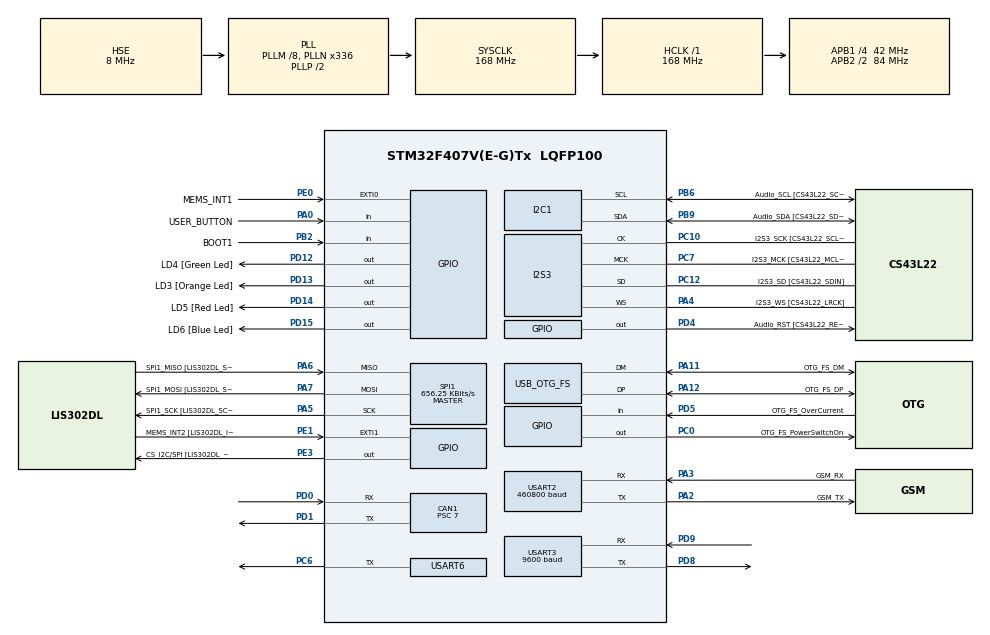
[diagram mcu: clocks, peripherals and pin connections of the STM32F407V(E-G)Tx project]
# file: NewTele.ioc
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CAN1.BS1=CAN_BS1_6TQ
CAN1.BS2=CAN_BS2_5TQ
CAN1.CalculateBaudRate=500000
CAN1.CalculateTimeBit=1999.99
CAN1.CalculateTimeQuantum=166.66666666666669
CAN1.Prescaler=7
Dma.Request0=USART2_RX
Dma.Request1=USART3_RX
Dma.Request2=USART2_TX
Dma.Request3=USART3_TX
Dma.Request4=USART6_TX
Dma.USART2_RX.0.Direction=DMA_PERIPH_TO_MEMORY
Dma.USART2_RX.0.FIFOMode=DMA_FIFOMODE_DISABLE
Dma.USART2_RX.0.Instance=DMA1_Stream5
Dma.USART2_RX.0.MemDataAlignment=DMA_MDATAALIGN_BYTE
Dma.USART2_RX.0.MemInc=DMA_MINC_ENABLE
Dma.USART2_RX.0.Mode=DMA_CIRCULAR
Dma.USART2_RX.0.PeriphDataAlignment=DMA_PDATAALIGN_BYTE
Dma.USART2_RX.0.PeriphInc=DMA_PINC_DISABLE
Dma.USART2_RX.0.Priority=DMA_PRIORITY_LOW
Dma.USART2_TX.2.Direction=DMA_MEMORY_TO_PERIPH
Dma.USART2_TX.2.FIFOMode=DMA_FIFOMODE_DISABLE
Dma.USART2_TX.2.Instance=DMA1_Stream6
Dma.USART2_TX.2.MemDataAlignment=DMA_MDATAALIGN_BYTE
Dma.USART2_TX.2.MemInc=DMA_MINC_ENABLE
Dma.USART2_TX.2.Mode=DMA_NORMAL
Dma.USART2_TX.2.PeriphDataAlignment=DMA_PDATAALIGN_BYTE
Dma.USART2_TX.2.PeriphInc=DMA_PINC_DISABLE
Dma.USART2_TX.2.Priority=DMA_PRIORITY_LOW
Dma.USART3_RX.1.Direction=DMA_PERIPH_TO_MEMORY
Dma.USART3_RX.1.FIFOMode=DMA_FIFOMODE_DISABLE
Dma.USART3_RX.1.Instance=DMA1_Stream1
Dma.USART3_RX.1.MemDataAlignment=DMA_MDATAALIGN_BYTE
Dma.USART3_RX.1.MemInc=DMA_MINC_ENABLE
Dma.USART3_RX.1.Mode=DMA_CIRCULAR
Dma.USART3_RX.1.PeriphDataAlignment=DMA_PDATAALIGN_BYTE
Dma.USART3_RX.1.PeriphInc=DMA_PINC_DISABLE
Dma.USART3_RX.1.Priority=DMA_PRIORITY_LOW
Dma.USART3_TX.3.Direction=DMA_MEMORY_TO_PERIPH
Dma.USART3_TX.3.FIFOMode=DMA_FIFOMODE_DISABLE
Dma.USART3_TX.3.Instance=DMA1_Stream3
Dma.USART3_TX.3.MemDataAlignment=DMA_MDATAALIGN_BYTE
Dma.USART3_TX.3.MemInc=DMA_MINC_ENABLE
Dma.USART3_TX.3.Mode=DMA_NORMAL
Dma.USART3_TX.3.PeriphDataAlignment=DMA_PDATAALIGN_BYTE
Dma.USART3_TX.3.PeriphInc=DMA_PINC_DISABLE
Dma.USART3_TX.3.Priority=DMA_PRIORITY_LOW
Dma.USART6_TX.4.Direction=DMA_MEMORY_TO_PERIPH
Dma.USART6_TX.4.FIFOMode=DMA_FIFOMODE_DISABLE
Dma.USART6_TX.4.Instance=DMA2_Stream6
Dma.USART6_TX.4.MemDataAlignment=DMA_MDATAALIGN_BYTE
Dma.USART6_TX.4.MemInc=DMA_MINC_ENABLE
Dma.USART6_TX.4.Mode=DMA_NORMAL
Dma.USART6_TX.4.PeriphDataAlignment=DMA_PDATAALIGN_BYTE
Dma.USART6_TX.4.PeriphInc=DMA_PINC_DISABLE
Dma.USART6_TX.4.Priority=DMA_PRIORITY_LOW
FREERTOS.Tasks01=defaultTask,24,128,StartDefaultTask,Default,NULL,Dynamic,NULL,NULL
FREERTOS.configUSE_NEWLIB_REENTRANT=1
I2S3.AudioFreq=I2S_AUDIOFREQ_96K
I2S3.AudioFreq-Half_Duplex_Master=I2S_AUDIOFREQ_96K
I2S3.ErrorAudioFreq=-2.34 %
I2S3.ErrorAudioFreq-Half_Duplex_Master=0.8 %
I2S3.FullDuplexMode=I2S_FULLDUPLEXMODE_DISABLE
I2S3.Instance=SPI$Index
I2S3.RealAudioFreq=93.75 KHz
I2S3.RealAudioFreq-Half_Duplex_Master=96.774 KHz
I2S3.VirtualMode=I2S_MODE_MASTER
Mcu.Family=STM32F4
Mcu.Name=STM32F407V(E-G)Tx
Mcu.Package=LQFP100
NVIC.DMA1_Stream1_IRQn=true\:5\:0\:false\:false\:true\:true\:false\:true
NVIC.DMA1_Stream3_IRQn=true\:5\:0\:false\:false\:true\:true\:false\:true
NVIC.DMA1_Stream5_IRQn=true\:5\:0\:false\:false\:true\:true\:false\:true
NVIC.DMA1_Stream6_IRQn=true\:5\:0\:false\:false\:true\:true\:false\:true
NVIC.DMA2_Stream6_IRQn=true\:5\:0\:false\:false\:true\:true\:false\:true
NVIC.EXTI0_IRQn=true\:5\:0\:false\:false\:true\:true\:true\:true
NVIC.EXTI1_IRQn=true\:5\:0\:false\:false\:true\:true\:true\:true
NVIC.OTG_FS_IRQn=true\:5\:0\:false\:false\:true\:true\:true\:true
NVIC.PriorityGroup=NVIC_PRIORITYGROUP_4
NVIC.TIM1_UP_TIM10_IRQn=true\:15\:0\:false\:false\:true\:false\:false\:true
NVIC.TIM2_IRQn=true\:5\:0\:false\:false\:true\:true\:true\:true
NVIC.TimeBase=TIM1_UP_TIM10_IRQn
NVIC.TimeBaseIP=TIM1
NVIC.USART2_IRQn=true\:5\:0\:false\:false\:true\:true\:true\:true
NVIC.USART3_IRQn=true\:5\:0\:false\:false\:true\:true\:true\:true
NVIC.USART6_IRQn=true\:5\:0\:false\:false\:true\:true\:true\:true
PA0-WKUP.GPIO_Label=USER_BUTTON
PA0-WKUP.Signal=GPIO_Input
PA10.GPIO_Label=OTG_FS_ID
PA10.GPIO_Mode=GPIO_MODE_AF_PP
PA10.GPIO_PuPd=GPIO_NOPULL
PA10.GPIO_Speed=GPIO_SPEED_FREQ_LOW
PA10.Signal=USB_OTG_FS_ID
PA11.GPIO_Label=OTG_FS_DM
PA11.GPIO_Mode=GPIO_MODE_AF_PP
PA11.GPIO_PuPd=GPIO_NOPULL
PA11.GPIO_Speed=GPIO_SPEED_FREQ_LOW
PA11.Mode=Device_Only
PA11.Signal=USB_OTG_FS_DM
PA12.GPIO_Label=OTG_FS_DP
PA12.GPIO_Mode=GPIO_MODE_AF_PP
PA12.GPIO_PuPd=GPIO_NOPULL
PA12.GPIO_Speed=GPIO_SPEED_FREQ_LOW
PA12.Mode=Device_Only
PA12.Signal=USB_OTG_FS_DP
PA13.GPIO_Label=SWDIO
PA13.Mode=Serial_Wire
PA13.Signal=SYS_JTMS-SWDIO
PA14.GPIO_Label=SWCLK
PA14.Mode=Serial_Wire
PA14.Signal=SYS_JTCK-SWCLK
PA2.GPIO_Label=GSM_TX
PA2.Mode=Asynchronous
PA2.Signal=USART2_TX
PA3.GPIO_Label=GSM_RX
PA3.Mode=Asynchronous
PA3.Signal=USART2_RX
PA4.GPIO_Label=I2S3_WS [CS43L22_LRCK]
PA4.GPIO_Mode=GPIO_MODE_AF_PP
PA4.GPIO_PuPd=GPIO_NOPULL
PA4.GPIO_Speed=GPIO_SPEED_FREQ_LOW
PA4.Mode=Half_Duplex_Master
PA4.Signal=I2S3_WS
PA5.GPIO_Label=SPI1_SCK [LIS302DL_SCL/SPC]
PA5.GPIO_Mode=GPIO_MODE_AF_PP
PA5.GPIO_PuPd=GPIO_NOPULL
PA5.GPIO_Speed=GPIO_SPEED_FREQ_LOW
PA5.Mode=Full_Duplex_Master
PA5.Signal=SPI1_SCK
PA6.GPIO_Label=SPI1_MISO [LIS302DL_SDO]
PA6.GPIO_Mode=GPIO_MODE_AF_PP
PA6.GPIO_PuPd=GPIO_NOPULL
PA6.GPIO_Speed=GPIO_SPEED_FREQ_LOW
PA6.Mode=Full_Duplex_Master
PA6.Signal=SPI1_MISO
PA7.GPIO_Label=SPI1_MOSI [LIS302DL_SDA/SDI/SDO]
PA7.GPIO_Mode=GPIO_MODE_AF_PP
PA7.GPIO_PuPd=GPIO_NOPULL
PA7.GPIO_Speed=GPIO_SPEED_FREQ_LOW
PA7.Mode=Full_Duplex_Master
PA7.Signal=SPI1_MOSI
PA9.GPIO_Label=VBUS_FS
PA9.GPIO_Mode=GPIO_MODE_INPUT
PA9.GPIO_PuPd=GPIO_NOPULL
PA9.Signal=USB_OTG_FS_VBUS
PB10.GPIO_Label=CLK_IN [MP45DT02_CLK]
PB10.GPIO_Mode=GPIO_MODE_AF_PP
PB10.GPIO_PuPd=GPIO_NOPULL
PB10.GPIO_Speed=GPIO_SPEED_FREQ_LOW
PB10.Signal=I2S2_CK
PB2.GPIO_Label=BOOT1
PB2.GPIO_Mode=GPIO_MODE_INPUT
PB2.GPIO_PuPd=GPIO_NOPULL
PB2.Signal=GPIO_Input
PB3.GPIO_Label=SWO
PB3.Signal=SYS_JTDO-SWO
PB6.GPIO_Label=Audio_SCL [CS43L22_SCL]
PB6.GPIO_Mode=GPIO_MODE_AF_OD
PB6.GPIO_Pu=GPIO_PULLUP
PB6.GPIO_PuPd=GPIO_NOPULL
PB6.GPIO_Speed=GPIO_SPEED_FREQ_LOW
PB6.Mode=I2C
PB6.Signal=I2C1_SCL
PB9.GPIO_Label=Audio_SDA [CS43L22_SDA]
PB9.GPIO_Mode=GPIO_MODE_AF_OD
PB9.GPIO_Pu=GPIO_PULLUP
PB9.GPIO_PuPd=GPIO_NOPULL
PB9.GPIO_Speed=GPIO_SPEED_FREQ_LOW
PB9.Mode=I2C
PB9.Signal=I2C1_SDA
PC0.GPIO_Label=OTG_FS_PowerSwitchOn
PC0.GPIO_PuPd=GPIO_NOPULL
PC0.GPIO_Speed=GPIO_SPEED_FREQ_LOW
PC0.PinState=GPIO_PIN_SET
PC0.Signal=GPIO_Output
PC10.GPIO_Label=I2S3_SCK [CS43L22_SCLK]
PC10.GPIO_Mode=GPIO_MODE_AF_PP
PC10.GPIO_PuPd=GPIO_NOPULL
PC10.GPIO_Speed=GPIO_SPEED_FREQ_LOW
PC10.Mode=Half_Duplex_Master
PC10.Signal=I2S3_CK
PC12.GPIO_Label=I2S3_SD [CS43L22_SDIN]
PC12.GPIO_Mode=GPIO_MODE_AF_PP
PC12.GPIO_PuPd=GPIO_NOPULL
PC12.GPIO_Speed=GPIO_SPEED_FREQ_LOW
PC12.Mode=Half_Duplex_Master
PC12.Signal=I2S3_SD
PC14-OSC32_IN.GPIO_Label=PC14-OSC32_IN
PC14-OSC32_IN.Mode=LSE-External-Oscillator
PC14-OSC32_IN.Signal=RCC_OSC32_IN
PC15-OSC32_OUT.GPIO_Label=PC15-OSC32_OUT
PC15-OSC32_OUT.Mode=LSE-External-Oscillator
PC15-OSC32_OUT.Signal=RCC_OSC32_OUT
PC3.GPIO_Label=PDM_OUT [MP45DT02_DOUT]
PC3.GPIO_Mode=GPIO_MODE_AF_PP
PC3.GPIO_PuPd=GPIO_NOPULL
PC3.GPIO_Speed=GPIO_SPEED_FREQ_LOW
PC3.Signal=I2S2_SD
PC6.Mode=Half_duplex(single_wire_mode)
PC6.Signal=USART6_TX
PC7.GPIO_Label=I2S3_MCK [CS43L22_MCLK]
PC7.GPIO_Mode=GPIO_MODE_AF_PP
PC7.GPIO_PuPd=GPIO_NOPULL
PC7.GPIO_Speed=GPIO_SPEED_FREQ_LOW
PC7.Mode=Master_Clock_Activated
PC7.Signal=I2S3_MCK
PD0.Mode=CAN_Activate
PD0.Signal=CAN1_RX
PD1.Mode=CAN_Activate
PD1.Signal=CAN1_TX
PD12.GPIO_Label=LD4 [Green Led]
PD12.GPIO_PuPd=GPIO_NOPULL
PD12.GPIO_Speed=GPIO_SPEED_FREQ_LOW
PD12.Signal=GPIO_Output
PD13.GPIO_Label=LD3 [Orange Led]
PD13.GPIO_PuPd=GPIO_NOPULL
PD13.GPIO_Speed=GPIO_SPEED_FREQ_LOW
PD13.Signal=GPIO_Output
PD14.GPIO_Label=LD5 [Red Led]
PD14.GPIO_PuPd=GPIO_NOPULL
PD14.GPIO_Speed=GPIO_SPEED_FREQ_LOW
PD14.Signal=GPIO_Output
PD15.GPIO_Label=LD6 [Blue Led]
PD15.GPIO_PuPd=GPIO_NOPULL
PD15.GPIO_Speed=GPIO_SPEED_FREQ_LOW
PD15.Signal=GPIO_Output
PD4.GPIO_Label=Audio_RST [CS43L22_RESET]
PD4.GPIO_PuPd=GPIO_NOPULL
PD4.GPIO_Speed=GPIO_SPEED_FREQ_LOW
PD4.Signal=GPIO_Output
PD5.GPIO_Label=OTG_FS_OverCurrent
PD5.GPIO_Mode=GPIO_MODE_INPUT
PD5.GPIO_PuPd=GPIO_NOPULL
PD5.Signal=GPIO_Input
PD8.Mode=Asynchronous
PD8.Signal=USART3_TX
PD9.Mode=Asynchronous
PD9.Signal=USART3_RX
PE0.GPIO_Label=MEMS_INT1
PE0.GPIO_ModeDefaultEXTI=GPIO_MODE_IT_FALLING
PE0.Signal=GPXTI0
PE1.GPIO_Label=MEMS_INT2 [LIS302DL_INT2]
PE1.GPIO_ModeDefaultEXTI=GPIO_MODE_IT_FALLING
PE1.GPIO_PuPd=GPIO_NOPULL
PE1.Signal=GPXTI1
PE3.GPIO_Label=CS_I2C/SPI [LIS302DL_CS_I2C/SPI]
PE3.GPIO_PuPd=GPIO_NOPULL
PE3.GPIO_Speed=GPIO_SPEED_FREQ_LOW
PE3.Signal=GPIO_Output
PH0-OSC_IN.GPIO_Label=PH0-OSC_IN
PH0-OSC_IN.Mode=HSE-External-Oscillator
PH0-OSC_IN.Signal=RCC_OSC_IN
PH1-OSC_OUT.GPIO_Label=PH1-OSC_OUT
PH1-OSC_OUT.Mode=HSE-External-Oscillator
PH1-OSC_OUT.Signal=RCC_OSC_OUT
ProjectManager.HeapSize=0x0
ProjectManager.StackSize=0x0
ProjectManager.TargetToolchain=STM32CubeIDE
RCC.48MHZClocksFreq_Value=48000000
RCC.AHBFreq_Value=168000000
RCC.APB1CLKDivider=RCC_HCLK_DIV4
RCC.APB1Freq_Value=42000000
RCC.APB1TimFreq_Value=84000000
RCC.APB2CLKDivider=RCC_HCLK_DIV2
RCC.APB2Freq_Value=84000000
RCC.APB2TimFreq_Value=168000000
RCC.CortexFreq_Value=168000000
RCC.HCLKFreq_Value=168000000
RCC.HSE_VALUE=8000000
RCC.HSI_VALUE=16000000
RCC.PLLM=8
RCC.PLLN=336
RCC.PLLQ=7
RCC.SYSCLKFreq_VALUE=168000000
RCC.SYSCLKSource=RCC_SYSCLKSOURCE_PLLCLK
RCC.VCOOutputFreq_Value=336000000
SPI1.BaudRatePrescaler=SPI_BAUDRATEPRESCALER_128
SPI1.BaudRatePrescaler-Full_Duplex_Master=SPI_BAUDRATEPRESCALER_2
SPI1.CLKPhase=SPI_PHASE_1EDGE
SPI1.CLKPolarity=SPI_POLARITY_LOW
SPI1.CalculateBaudRate=656.25 KBits/s
SPI1.CalculateBaudRate-Full_Duplex_Master=42.0 MBits/s
SPI1.Direction=SPI_DIRECTION_2LINES
SPI1.Mode=SPI_MODE_MASTER
SPI1.Mode-Full_Duplex_Master=SPI_MODE_MASTER
SPI1.VirtualType=VM_MASTER
TIM2.Period=1
TIM2.Prescaler=16800
USART2.BaudRate=460800
USART2.VirtualMode=VM_ASYNC
USART3.BaudRate=9600
USART3.VirtualMode=VM_ASYNC
USART6.BaudRate=115200
USART6.Mode=MODE_TX
USART6.VirtualMode=VM_ASYNC
USB_DEVICE.CLASS_NAME_FS=CDC
USB_DEVICE.VirtualMode-CDC_FS=Cdc
USB_DEVICE.VirtualModeFS=Cdc_FS
USB_OTG_FS.VirtualMode=Device_Only
VP_CRC_VS_CRC.Mode=CRC_Activate
VP_FREERTOS_VS_CMSIS_V2.Mode=CMSIS_V2
VP_RNG_VS_RNG.Mode=RNG_Activate
VP_SYS_VS_tim1.Mode=TIM1
VP_TIM2_VS_ClockSourceINT.Mode=Internal
VP_USB_DEVICE_VS_USB_DEVICE_CDC_FS.Mode=CDC_FS
board=STM32F407G-DISC1

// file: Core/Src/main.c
/* USER CODE BEGIN Header */
/**
  ******************************************************************************
  * @file           : main.c
  * @brief          : Main program body
  ******************************************************************************
  * @attention
  *
  * <h2><center>&copy; Copyright (c) 2022 STMicroelectronics.
  * All rights reserved.</center></h2>
  *
  * This software component is licensed by ST under Ultimate Liberty license
  * SLA0044, the "License"; You may not use this file except in compliance with
  * the License. You may obtain a copy of the License at:
  *                             www.st.com/SLA0044
  *
  ******************************************************************************
  */
/* USER CODE END Header */
#include "main.h"
#include "cmsis_os.h"
#include "usb_device.h"
#include "usb_device.h"

CAN_HandleTypeDef hcan1;

CRC_HandleTypeDef hcrc;

I2C_HandleTypeDef hi2c1;

I2S_HandleTypeDef hi2s3;

RNG_HandleTypeDef hrng;

SPI_HandleTypeDef hspi1;

TIM_HandleTypeDef htim2;

UART_HandleTypeDef huart2;
UART_HandleTypeDef huart3;
UART_HandleTypeDef huart6;
DMA_HandleTypeDef hdma_usart2_rx;
DMA_HandleTypeDef hdma_usart2_tx;
DMA_HandleTypeDef hdma_usart3_rx;
DMA_HandleTypeDef hdma_usart3_tx;
DMA_HandleTypeDef hdma_usart6_tx;

/* Definitions for defaultTask */
osThreadId_t defaultTaskHandle;
const osThreadAttr_t defaultTask_attributes = {
  .name = "defaultTask",
  .stack_size = 128 * 4,
  .priority = (osPriority_t) osPriorityNormal,
};
/* USER CODE BEGIN PV */
// static int s_error_handler_ignore_errors = 0;
uint32_t g_high_frequency_ticks = 0;
/* USER CODE END PV */

void SystemClock_Config(void);
static void MX_GPIO_Init(void);
static void MX_I2C1_Init(void);
static void MX_I2S3_Init(void);
static void MX_SPI1_Init(void);
static void MX_CRC_Init(void);
static void MX_RNG_Init(void);
static void MX_DMA_Init(void);
static void MX_USART2_UART_Init(void);
static void MX_USART3_UART_Init(void);
static void MX_TIM2_Init(void);
static void MX_CAN1_Init(void);
static void MX_USART6_UART_Init(void);
void StartDefaultTask(void *argument);

/* USER CODE BEGIN 0 */
void initialize_hf_ticks() {
    g_high_frequency_ticks = 0;
    HAL_TIM_Base_Start_IT(&htim2);
}
/* USER CODE END 0 */

int main(void)
{

  /* MCU Configuration--------------------------------------------------------*/

  /* Reset of all peripherals, Initializes the Flash interface and the Systick. */
  HAL_Init();

  /* USER CODE BEGIN Init */

  /*
   * HAL_RCC_OscConfig, for some reason, fails
   * The following might be related: https://github.com/STMicroelectronics/STM32CubeF4/issues/17
   *
   * As a dirty hack, I used to comment out a single Error_Handler() call but
   * that approach requires one to comment out the line on every code
   * generation by CubeMX. As such, the global `s_error_handler_ignore_errors`
   * toggles whether the Error_Handler() functions.
   *
   * NOTICE FROM 08/01/23: NEVER do this again, the issue is related to
   * OpenOCD messing with thePLL settings. The workaround, as laid out
   * in an EEVBlog thread[1] is to reset the PLL before setting up the
   * clock.
   * [1]: https://www.eevblog.com/forum/microcontrollers/stm32-clock-gets-modified-when-debugger-is-connected/msg3306944/#msg3306944
   */

  // s_error_handler_ignore_errors = 1;

  if ((RCC->CFGR & RCC_CFGR_SWS) == RCC_CFGR_SWS_PLL) {
      RCC->CFGR &= (uint32_t)(~RCC_CFGR_SW);
      while ((RCC->CFGR & RCC_CFGR_SWS) != RCC_CFGR_SWS_HSI)
          ;
  }

  /* USER CODE END Init */

  /* Configure the system clock */
  SystemClock_Config();

  /* USER CODE BEGIN SysInit */
  // s_error_handler_ignore_errors = 0;
  /* USER CODE END SysInit */

  /* Initialize all configured peripherals */
  MX_GPIO_Init();
  MX_I2C1_Init();
  MX_I2S3_Init();
  MX_SPI1_Init();
  MX_CRC_Init();
  MX_RNG_Init();
  MX_DMA_Init();
  MX_USART2_UART_Init();
  MX_USART3_UART_Init();
  MX_TIM2_Init();
  MX_CAN1_Init();
  MX_USART6_UART_Init();

  /* Init scheduler */
  osKernelInitialize();

  /* Create the thread(s) */
  /* creation of defaultTask */
  defaultTaskHandle = osThreadNew(StartDefaultTask, NULL, &defaultTask_attributes);

  /* USER CODE BEGIN RTOS_EVENTS */
  /* add events, ... */

  cpp_init();
  /* USER CODE END RTOS_EVENTS */

  /* Start scheduler */
  osKernelStart();

  /* We should never get here as control is now taken by the scheduler */
  /* Infinite loop */
  /* USER CODE BEGIN WHILE */
  cpp_os_exit();
  while (1)
  {
    /* USER CODE END WHILE */

  }
}

void SystemClock_Config(void)
{
  RCC_OscInitTypeDef RCC_OscInitStruct = {0};
  RCC_ClkInitTypeDef RCC_ClkInitStruct = {0};

  /** Configure the main internal regulator output voltage
  */
  __HAL_RCC_PWR_CLK_ENABLE();
  __HAL_PWR_VOLTAGESCALING_CONFIG(PWR_REGULATOR_VOLTAGE_SCALE1);
  /** Initializes the RCC Oscillators according to the specified parameters
  * in the RCC_OscInitTypeDef structure.
  */
  RCC_OscInitStruct.OscillatorType = RCC_OSCILLATORTYPE_HSE;
  RCC_OscInitStruct.HSEState = RCC_HSE_ON;
  RCC_OscInitStruct.PLL.PLLState = RCC_PLL_ON;
  RCC_OscInitStruct.PLL.PLLSource = RCC_PLLSOURCE_HSE;
  RCC_OscInitStruct.PLL.PLLM = 8;
  RCC_OscInitStruct.PLL.PLLN = 336;
  RCC_OscInitStruct.PLL.PLLP = RCC_PLLP_DIV2;
  RCC_OscInitStruct.PLL.PLLQ = 7;
  if (HAL_RCC_OscConfig(&RCC_OscInitStruct) != HAL_OK)
  {
    Error_Handler();
  }
  /** Initializes the CPU, AHB and APB buses clocks
  */
  RCC_ClkInitStruct.ClockType = RCC_CLOCKTYPE_HCLK|RCC_CLOCKTYPE_SYSCLK
                              |RCC_CLOCKTYPE_PCLK1|RCC_CLOCKTYPE_PCLK2;
  RCC_ClkInitStruct.SYSCLKSource = RCC_SYSCLKSOURCE_PLLCLK;
  RCC_ClkInitStruct.AHBCLKDivider = RCC_SYSCLK_DIV1;
  RCC_ClkInitStruct.APB1CLKDivider = RCC_HCLK_DIV4;
  RCC_ClkInitStruct.APB2CLKDivider = RCC_HCLK_DIV2;

  if (HAL_RCC_ClockConfig(&RCC_ClkInitStruct, FLASH_LATENCY_5) != HAL_OK)
  {
    Error_Handler();
  }
}

static void MX_CAN1_Init(void)
{

  hcan1.Instance = CAN1;
  hcan1.Init.Prescaler = 7;
  hcan1.Init.Mode = CAN_MODE_NORMAL;
  hcan1.Init.SyncJumpWidth = CAN_SJW_1TQ;
  hcan1.Init.TimeSeg1 = CAN_BS1_6TQ;
  hcan1.Init.TimeSeg2 = CAN_BS2_5TQ;
  hcan1.Init.TimeTriggeredMode = DISABLE;
  hcan1.Init.AutoBusOff = DISABLE;
  hcan1.Init.AutoWakeUp = DISABLE;
  hcan1.Init.AutoRetransmission = DISABLE;
  hcan1.Init.ReceiveFifoLocked = DISABLE;
  hcan1.Init.TransmitFifoPriority = DISABLE;
  if (HAL_CAN_Init(&hcan1) != HAL_OK)
  {
    Error_Handler();
  }

}

static void MX_CRC_Init(void)
{

  hcrc.Instance = CRC;
  if (HAL_CRC_Init(&hcrc) != HAL_OK)
  {
    Error_Handler();
  }

}

static void MX_I2C1_Init(void)
{

  hi2c1.Instance = I2C1;
  hi2c1.Init.ClockSpeed = 100000;
  hi2c1.Init.DutyCycle = I2C_DUTYCYCLE_2;
  hi2c1.Init.OwnAddress1 = 0;
  hi2c1.Init.AddressingMode = I2C_ADDRESSINGMODE_7BIT;
  hi2c1.Init.DualAddressMode = I2C_DUALADDRESS_DISABLE;
  hi2c1.Init.OwnAddress2 = 0;
  hi2c1.Init.GeneralCallMode = I2C_GENERALCALL_DISABLE;
  hi2c1.Init.NoStretchMode = I2C_NOSTRETCH_DISABLE;
  if (HAL_I2C_Init(&hi2c1) != HAL_OK)
  {
    Error_Handler();
  }

}

static void MX_I2S3_Init(void)
{

  hi2s3.Instance = SPI3;
  hi2s3.Init.Mode = I2S_MODE_MASTER_TX;
  hi2s3.Init.Standard = I2S_STANDARD_PHILIPS;
  hi2s3.Init.DataFormat = I2S_DATAFORMAT_16B;
  hi2s3.Init.MCLKOutput = I2S_MCLKOUTPUT_ENABLE;
  hi2s3.Init.AudioFreq = I2S_AUDIOFREQ_96K;
  hi2s3.Init.CPOL = I2S_CPOL_LOW;
  hi2s3.Init.ClockSource = I2S_CLOCK_PLL;
  hi2s3.Init.FullDuplexMode = I2S_FULLDUPLEXMODE_DISABLE;
  if (HAL_I2S_Init(&hi2s3) != HAL_OK)
  {
    Error_Handler();
  }

}

static void MX_RNG_Init(void)
{

  hrng.Instance = RNG;
  if (HAL_RNG_Init(&hrng) != HAL_OK)
  {
    Error_Handler();
  }

}

static void MX_SPI1_Init(void)
{

  /* SPI1 parameter configuration*/
  hspi1.Instance = SPI1;
  hspi1.Init.Mode = SPI_MODE_MASTER;
  hspi1.Init.Direction = SPI_DIRECTION_2LINES;
  hspi1.Init.DataSize = SPI_DATASIZE_8BIT;
  hspi1.Init.CLKPolarity = SPI_POLARITY_LOW;
  hspi1.Init.CLKPhase = SPI_PHASE_1EDGE;
  hspi1.Init.NSS = SPI_NSS_SOFT;
  hspi1.Init.BaudRatePrescaler = SPI_BAUDRATEPRESCALER_128;
  hspi1.Init.FirstBit = SPI_FIRSTBIT_MSB;
  hspi1.Init.TIMode = SPI_TIMODE_DISABLE;
  hspi1.Init.CRCCalculation = SPI_CRCCALCULATION_DISABLE;
  hspi1.Init.CRCPolynomial = 10;
  if (HAL_SPI_Init(&hspi1) != HAL_OK)
  {
    Error_Handler();
  }

}

static void MX_TIM2_Init(void)
{

  TIM_ClockConfigTypeDef sClockSourceConfig = {0};
  TIM_MasterConfigTypeDef sMasterConfig = {0};

  htim2.Instance = TIM2;
  htim2.Init.Prescaler = 16800;
  htim2.Init.CounterMode = TIM_COUNTERMODE_UP;
  htim2.Init.Period = 1;
  htim2.Init.ClockDivision = TIM_CLOCKDIVISION_DIV1;
  htim2.Init.AutoReloadPreload = TIM_AUTORELOAD_PRELOAD_DISABLE;
  if (HAL_TIM_Base_Init(&htim2) != HAL_OK)
  {
    Error_Handler();
  }
  sClockSourceConfig.ClockSource = TIM_CLOCKSOURCE_INTERNAL;
  if (HAL_TIM_ConfigClockSource(&htim2, &sClockSourceConfig) != HAL_OK)
  {
    Error_Handler();
  }
  sMasterConfig.MasterOutputTrigger = TIM_TRGO_RESET;
  sMasterConfig.MasterSlaveMode = TIM_MASTERSLAVEMODE_DISABLE;
  if (HAL_TIMEx_MasterConfigSynchronization(&htim2, &sMasterConfig) != HAL_OK)
  {
    Error_Handler();
  }

}

static void MX_USART2_UART_Init(void)
{

  huart2.Instance = USART2;
  huart2.Init.BaudRate = 460800;
  huart2.Init.WordLength = UART_WORDLENGTH_8B;
  huart2.Init.StopBits = UART_STOPBITS_1;
  huart2.Init.Parity = UART_PARITY_NONE;
  huart2.Init.Mode = UART_MODE_TX_RX;
  huart2.Init.HwFlowCtl = UART_HWCONTROL_NONE;
  huart2.Init.OverSampling = UART_OVERSAMPLING_16;
  if (HAL_UART_Init(&huart2) != HAL_OK)
  {
    Error_Handler();
  }

}

static void MX_USART3_UART_Init(void)
{

  huart3.Instance = USART3;
  huart3.Init.BaudRate = 9600;
  huart3.Init.WordLength = UART_WORDLENGTH_8B;
  huart3.Init.StopBits = UART_STOPBITS_1;
  huart3.Init.Parity = UART_PARITY_NONE;
  huart3.Init.Mode = UART_MODE_TX_RX;
  huart3.Init.HwFlowCtl = UART_HWCONTROL_NONE;
  huart3.Init.OverSampling = UART_OVERSAMPLING_16;
  if (HAL_UART_Init(&huart3) != HAL_OK)
  {
    Error_Handler();
  }

}

static void MX_USART6_UART_Init(void)
{

  huart6.Instance = USART6;
  huart6.Init.BaudRate = 115200;
  huart6.Init.WordLength = UART_WORDLENGTH_8B;
  huart6.Init.StopBits = UART_STOPBITS_1;
  huart6.Init.Parity = UART_PARITY_NONE;
  huart6.Init.Mode = UART_MODE_TX;
  huart6.Init.HwFlowCtl = UART_HWCONTROL_NONE;
  huart6.Init.OverSampling = UART_OVERSAMPLING_16;
  if (HAL_HalfDuplex_Init(&huart6) != HAL_OK)
  {
    Error_Handler();
  }

}

static void MX_DMA_Init(void)
{

  /* DMA controller clock enable */
  __HAL_RCC_DMA1_CLK_ENABLE();
  __HAL_RCC_DMA2_CLK_ENABLE();

  /* DMA interrupt init */
  /* DMA1_Stream1_IRQn interrupt configuration */
  HAL_NVIC_SetPriority(DMA1_Stream1_IRQn, 5, 0);
  HAL_NVIC_EnableIRQ(DMA1_Stream1_IRQn);
  /* DMA1_Stream3_IRQn interrupt configuration */
  HAL_NVIC_SetPriority(DMA1_Stream3_IRQn, 5, 0);
  HAL_NVIC_EnableIRQ(DMA1_Stream3_IRQn);
  /* DMA1_Stream5_IRQn interrupt configuration */
  HAL_NVIC_SetPriority(DMA1_Stream5_IRQn, 5, 0);
  HAL_NVIC_EnableIRQ(DMA1_Stream5_IRQn);
  /* DMA1_Stream6_IRQn interrupt configuration */
  HAL_NVIC_SetPriority(DMA1_Stream6_IRQn, 5, 0);
  HAL_NVIC_EnableIRQ(DMA1_Stream6_IRQn);
  /* DMA2_Stream6_IRQn interrupt configuration */
  HAL_NVIC_SetPriority(DMA2_Stream6_IRQn, 5, 0);
  HAL_NVIC_EnableIRQ(DMA2_Stream6_IRQn);

}

static void MX_GPIO_Init(void)
{
  GPIO_InitTypeDef GPIO_InitStruct = {0};

  /* GPIO Ports Clock Enable */
  __HAL_RCC_GPIOE_CLK_ENABLE();
  __HAL_RCC_GPIOC_CLK_ENABLE();
  __HAL_RCC_GPIOH_CLK_ENABLE();
  __HAL_RCC_GPIOA_CLK_ENABLE();
  __HAL_RCC_GPIOB_CLK_ENABLE();
  __HAL_RCC_GPIOD_CLK_ENABLE();

  /*Configure GPIO pin Output Level */
  HAL_GPIO_WritePin(CS_I2C_SPI_GPIO_Port, CS_I2C_SPI_Pin, GPIO_PIN_RESET);

  /*Configure GPIO pin Output Level */
  HAL_GPIO_WritePin(OTG_FS_PowerSwitchOn_GPIO_Port, OTG_FS_PowerSwitchOn_Pin, GPIO_PIN_SET);

  /*Configure GPIO pin Output Level */
  HAL_GPIO_WritePin(GPIOD, LD4_Pin|LD3_Pin|LD5_Pin|LD6_Pin
                          |Audio_RST_Pin, GPIO_PIN_RESET);

  /*Configure GPIO pin : CS_I2C_SPI_Pin */
  GPIO_InitStruct.Pin = CS_I2C_SPI_Pin;
  GPIO_InitStruct.Mode = GPIO_MODE_OUTPUT_PP;
  GPIO_InitStruct.Pull = GPIO_NOPULL;
  GPIO_InitStruct.Speed = GPIO_SPEED_FREQ_LOW;
  HAL_GPIO_Init(CS_I2C_SPI_GPIO_Port, &GPIO_InitStruct);

  /*Configure GPIO pin : OTG_FS_PowerSwitchOn_Pin */
  GPIO_InitStruct.Pin = OTG_FS_PowerSwitchOn_Pin;
  GPIO_InitStruct.Mode = GPIO_MODE_OUTPUT_PP;
  GPIO_InitStruct.Pull = GPIO_NOPULL;
  GPIO_InitStruct.Speed = GPIO_SPEED_FREQ_LOW;
  HAL_GPIO_Init(OTG_FS_PowerSwitchOn_GPIO_Port, &GPIO_InitStruct);

  /*Configure GPIO pin : PDM_OUT_Pin */
  GPIO_InitStruct.Pin = PDM_OUT_Pin;
  GPIO_InitStruct.Mode = GPIO_MODE_AF_PP;
  GPIO_InitStruct.Pull = GPIO_NOPULL;
  GPIO_InitStruct.Speed = GPIO_SPEED_FREQ_LOW;
  GPIO_InitStruct.Alternate = GPIO_AF5_SPI2;
  HAL_GPIO_Init(PDM_OUT_GPIO_Port, &GPIO_InitStruct);

  /*Configure GPIO pin : USER_BUTTON_Pin */
  GPIO_InitStruct.Pin = USER_BUTTON_Pin;
  GPIO_InitStruct.Mode = GPIO_MODE_INPUT;
  GPIO_InitStruct.Pull = GPIO_NOPULL;
  HAL_GPIO_Init(USER_BUTTON_GPIO_Port, &GPIO_InitStruct);

  /*Configure GPIO pin : BOOT1_Pin */
  GPIO_InitStruct.Pin = BOOT1_Pin;
  GPIO_InitStruct.Mode = GPIO_MODE_INPUT;
  GPIO_InitStruct.Pull = GPIO_NOPULL;
  HAL_GPIO_Init(BOOT1_GPIO_Port, &GPIO_InitStruct);

  /*Configure GPIO pin : CLK_IN_Pin */
  GPIO_InitStruct.Pin = CLK_IN_Pin;
  GPIO_InitStruct.Mode = GPIO_MODE_AF_PP;
  GPIO_InitStruct.Pull = GPIO_NOPULL;
  GPIO_InitStruct.Speed = GPIO_SPEED_FREQ_LOW;
  GPIO_InitStruct.Alternate = GPIO_AF5_SPI2;
  HAL_GPIO_Init(CLK_IN_GPIO_Port, &GPIO_InitStruct);

  /*Configure GPIO pins : LD4_Pin LD3_Pin LD5_Pin LD6_Pin
                           Audio_RST_Pin */
  GPIO_InitStruct.Pin = LD4_Pin|LD3_Pin|LD5_Pin|LD6_Pin
                          |Audio_RST_Pin;
  GPIO_InitStruct.Mode = GPIO_MODE_OUTPUT_PP;
  GPIO_InitStruct.Pull = GPIO_NOPULL;
  GPIO_InitStruct.Speed = GPIO_SPEED_FREQ_LOW;
  HAL_GPIO_Init(GPIOD, &GPIO_InitStruct);

  /*Configure GPIO pin : OTG_FS_OverCurrent_Pin */
  GPIO_InitStruct.Pin = OTG_FS_OverCurrent_Pin;
  GPIO_InitStruct.Mode = GPIO_MODE_INPUT;
  GPIO_InitStruct.Pull = GPIO_NOPULL;
  HAL_GPIO_Init(OTG_FS_OverCurrent_GPIO_Port, &GPIO_InitStruct);

  /*Configure GPIO pins : MEMS_INT1_Pin MEMS_INT2_Pin */
  GPIO_InitStruct.Pin = MEMS_INT1_Pin|MEMS_INT2_Pin;
  GPIO_InitStruct.Mode = GPIO_MODE_IT_FALLING;
  GPIO_InitStruct.Pull = GPIO_NOPULL;
  HAL_GPIO_Init(GPIOE, &GPIO_InitStruct);

  /* EXTI interrupt init*/
  HAL_NVIC_SetPriority(EXTI0_IRQn, 5, 0);
  HAL_NVIC_EnableIRQ(EXTI0_IRQn);

  HAL_NVIC_SetPriority(EXTI1_IRQn, 5, 0);
  HAL_NVIC_EnableIRQ(EXTI1_IRQn);

}

void StartDefaultTask(void *argument)
{
  /* init code for USB_DEVICE */
  MX_USB_DEVICE_Init();
  /* USER CODE BEGIN 5 */
  /* Infinite loop */
    for (;;) {
        //HAL_GPIO_TogglePin(LD3_GPIO_Port, LD3_Pin);
        osDelay(1000 / HAL_GetTickFreq());
    }
  /* USER CODE END 5 */
}

void HAL_TIM_PeriodElapsedCallback(TIM_HandleTypeDef *htim)
{
  if (htim->Instance == TIM1) {
    HAL_IncTick();
  }
  /* USER CODE BEGIN Callback 1 */
  else if (htim->Instance == TIM2) {
      ++g_high_frequency_ticks;
  }
  /* USER CODE END Callback 1 */
}

void Error_Handler(void)
{
  /* USER CODE BEGIN Error_Handler_Debug */
  /* User can add his own implementation to report the HAL error return state */

  /*void* call_site_raw = __builtin_return_address(0);
  void* call_site_actual = __builtin_extract_return_addr(call_site_raw);*/

  // if (s_error_handler_ignore_errors)
  //     return;

  halt_and_catch_fire(HCF_ERROR_HANDLER, "no clue");
  /* USER CODE END Error_Handler_Debug */
}

#ifdef  USE_FULL_ASSERT
/**
  * @brief  Reports the name of the source file and the source line number
  *         where the assert_param error has occurred.
  * @param  file: pointer to the source file name
  * @param  line: assert_param error line source number
  * @retval None
  */
void assert_failed(uint8_t *file, uint32_t line)
{
  /* USER CODE BEGIN 6 */
  cpp_assert_failed((const char*)file, line);
  /* User can add his own implementation to report the file name and line number,
     ex: printf("Wrong parameters value: file %s on line %d\r\n", file, line) */
  /* USER CODE END 6 */
}
#endif /* USE_FULL_ASSERT */

/************************ (C) COPYRIGHT STMicroelectronics *****END OF FILE****/
